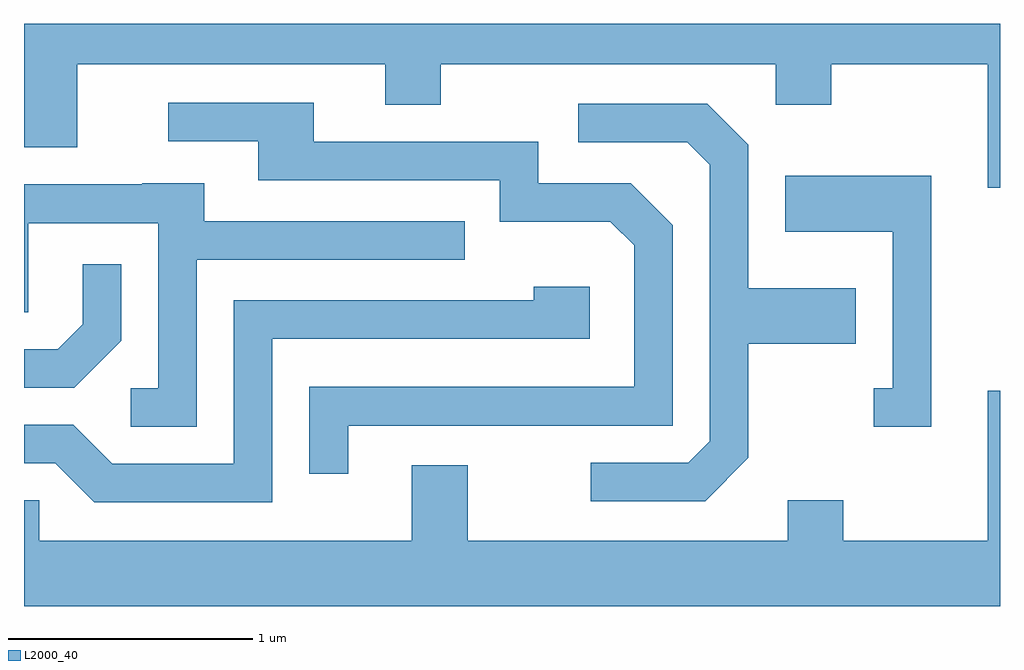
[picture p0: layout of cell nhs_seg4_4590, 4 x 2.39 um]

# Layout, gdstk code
import gdstk
lib = gdstk.Library(unit=1e-6, precision=1e-09)
def P(c, l, *ps):  # polygons
    for p in ps: c.add(gdstk.Polygon(p, *l))
L2000_40 = (2000, 40)

nhs_seg4_4590 = lib.new_cell('nhs_seg4_4590')
P(nhs_seg4_4590, L2000_40, [(323.611,1325.982),(319.611,1325.982),(319.611,1325.476),(319.829,1325.476),(319.829,1325.816),(321.091,1325.816),(321.091,1325.651),(321.319,1325.651),(321.319,1325.816),(322.691,1325.816),(322.691,1325.651),(322.919,1325.651),(322.919,1325.816),(323.561,1325.816),(323.561,1325.311),(323.611,1325.311)],
  [(320.939,1324.336),(322.269,1324.336),(322.269,1325.157),(322.097,1325.329),(321.719,1325.329),(321.719,1325.499),(320.799,1325.499),(320.799,1325.659),(320.203,1325.659),(320.203,1325.501),(320.571,1325.501),(320.571,1325.341),(321.561,1325.341),(321.561,1325.171),(322.014,1325.171),(322.111,1325.074),(322.111,1324.494),(320.781,1324.494),(320.781,1324.138),(320.939,1324.138)],
  [(322.579,1324.204),(322.579,1324.671),(323.019,1324.671),(323.019,1324.899),(322.579,1324.899),(322.579,1325.487),(322.412,1325.654),(321.883,1325.654),(321.883,1325.496),(322.329,1325.496),(322.421,1325.404),(322.421,1324.272),(322.334,1324.184),(321.933,1324.184),(321.933,1324.026),(322.402,1324.026)],
  [(323.329,1325.359),(322.731,1325.359),(322.731,1325.131),(323.171,1325.131),(323.171,1324.489),(323.093,1324.489),(323.093,1324.331),(323.329,1324.331)],
  [(320.319,1325.016),(321.418,1325.016),(321.418,1325.174),(320.349,1325.174),(320.349,1325.329),(320.095,1325.329),(320.095,1325.324),(319.611,1325.324),(319.611,1324.801),(319.629,1324.801),(319.629,1325.166),(320.161,1325.166),(320.161,1324.489),(320.048,1324.489),(320.048,1324.331),(320.319,1324.331)],
  [(320.009,1324.684),(320.009,1324.998),(319.851,1324.998),(319.851,1324.752),(319.749,1324.649),(319.611,1324.649),(319.611,1324.491),(319.817,1324.491)],
  [(320.629,1324.691),(321.929,1324.691),(321.929,1324.904),(321.701,1324.904),(321.701,1324.849),(320.471,1324.849),(320.471,1324.179),(319.972,1324.179),(319.812,1324.339),(319.611,1324.339),(319.611,1324.181),(319.739,1324.181),(319.899,1324.021),(320.629,1324.021)],
  [(323.611,1324.479),(323.561,1324.479),(323.561,1323.864),(322.969,1323.864),(322.969,1324.029),(322.741,1324.029),(322.741,1323.864),(321.429,1323.864),(321.429,1324.174),(321.201,1324.174),(321.201,1323.864),(319.674,1323.864),(319.674,1324.029),(319.611,1324.029),(319.611,1323.596),(323.611,1323.596)])

lib.write_gds('nhs_seg4_4590.gds')
